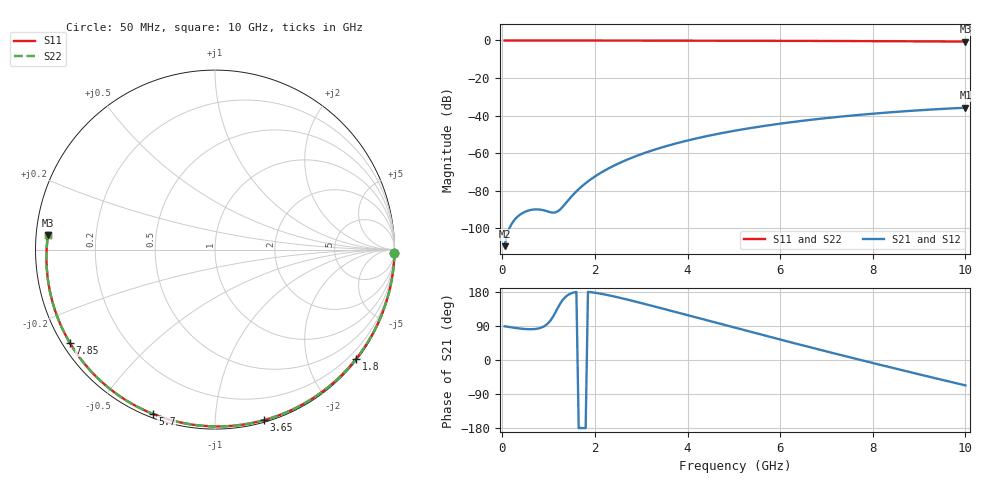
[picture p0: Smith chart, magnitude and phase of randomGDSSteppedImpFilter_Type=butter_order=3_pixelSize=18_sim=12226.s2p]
! freq	dB(S11)	phase(S11)	dB(S12)	phase(S12)
!  dB(S21)	phase(S21)	dB(S22)	phase(S22)
!S-par simulation data
#  GHz  S  DB  R 50
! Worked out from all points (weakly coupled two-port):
!   200 points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, 50 MHz to 10 GHz, reference 50 ohm
!   highest |S21| = -35.84 dB at 10 GHz (marker M1); lowest = -109.6 dB at 50 MHz (marker M2)
!   lowest |S11| = -0.6 dB at 10 GHz (marker M3), VSWR 29.38, Z = 1.7 + j2.15 ohm
!   |S11| at or under -10 dB: nowhere
!   |S22| runs from -0.6 to 0.0 dB; largest |S21 - S12| = 0
!   S11 on the Smith chart (normalised r, x): 50 MHz: open; 1.8 GHz: 0.03, -2.93; 3.65 GHz: 0.02, -1.33; 5.7 GHz: 0.02, -0.69; 7.85 GHz: 0.02, -0.29; 10 GHz: 0.03, +0.04
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0.05  -0.00 -1.1  -109.62 89.0  -109.62 89.0  -0.00 -1.1
0.4  -0.01 -8.5  -92.54 82.7  -92.54 82.7  -0.01 -8.5
0.8  -0.02 -17.0  -90.09 83.9  -90.09 83.9  -0.02 -17.0
1.2  -0.03 -25.4  -91.04 137.8  -91.04 137.8  -0.03 -25.4
1.6  -0.04 -33.6  -80.41 179.5  -80.41 179.5  -0.04 -33.6
1.65  -0.04 -34.6  -79.23 -179.8  -79.23 -179.8  -0.04 -34.6
1.75  -0.05 -36.7  -77.05 -179.5  -77.05 -179.5  -0.05 -36.7
1.8  -0.05 -37.7  -76.05 -179.8  -76.05 -179.8  -0.05 -37.7
2.1  -0.06 -43.8  -70.91 175.5  -70.91 175.5  -0.06 -43.8
2.5  -0.07 -51.8  -65.65 165.3  -65.65 165.3  -0.07 -51.8
2.9  -0.08 -59.7  -61.51 153.4  -61.51 153.4  -0.08 -59.7
3.4  -0.09 -69.3  -57.33 137.7  -57.33 137.7  -0.09 -69.3
3.65  -0.10 -74.0  -55.55 129.6  -55.55 129.6  -0.10 -74.0
4.35  -0.12 -86.9  -51.33 106.9  -51.33 106.9  -0.12 -86.9
5.05  -0.15 -99.5  -47.96 84.3  -47.96 84.3  -0.15 -99.5
5.7  -0.19 -110.8  -45.38 63.5  -45.38 63.5  -0.19 -110.8
6.7  -0.25 -127.8  -42.18 32.0  -42.18 32.0  -0.25 -127.8
7.3  -0.30 -137.9  -40.60 13.4  -40.60 13.4  -0.30 -137.9
7.85  -0.34 -147.2  -39.34 -3.4  -39.34 -3.4  -0.34 -147.2
8.35  -0.39 -155.7  -38.34 -18.4  -38.34 -18.4  -0.39 -155.7
9.2  -0.49 -170.4  -36.90 -43.7  -36.90 -43.7  -0.49 -170.4
10  -0.59 175.1  -35.84 -67.0  -35.84 -67.0  -0.59 175.1
